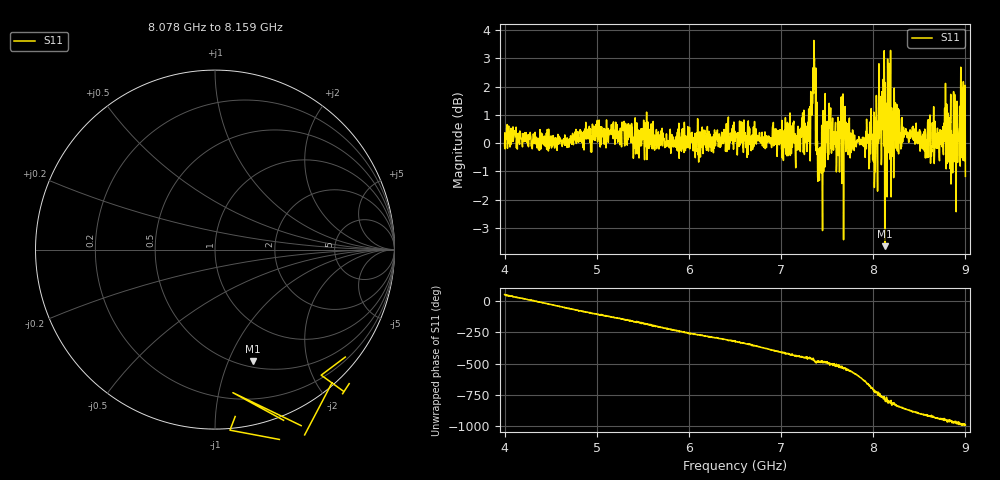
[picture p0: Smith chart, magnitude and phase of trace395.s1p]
! Created with skrf 1.8.0 (http://scikit-rf.org).
# Hz S RI R 50.0
!freq ReS11 ImS11
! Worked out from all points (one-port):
!   1601 points, 4 GHz to 9 GHz, reference 50 ohm
!   lowest |S11| = -3.6 dB at 8.125 GHz (marker M1), VSWR 4.83, Z = 28.2 - j61.7 ohm
!   |S11| at or under -10 dB: nowhere
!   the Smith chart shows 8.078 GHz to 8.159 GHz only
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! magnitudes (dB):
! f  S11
! 4 GHz  -0.1
! 4.625 GHz  -0.1
! 5.25 GHz  -0.1
! 5.875 GHz  0.4
! 6.5 GHz  0.1
! 7.125 GHz  0.3
! 7.294 GHz  0.3
! 7.347 GHz  2.7
! 7.369 GHz  1.9
! 7.4 GHz  -1.4
! 7.425 GHz  -0.1
! 7.478 GHz  1.8
! 7.512 GHz  0.7
! 7.619 GHz  0.9
! 7.65 GHz  1.6
! 7.75 GHz  -0.5
! 7.953 GHz  -0.9
! 8.006 GHz  1.1
! 8.097 GHz  0.8
! 8.125 GHz  -3.6
! 8.162 GHz  1.6
! 8.216 GHz  0.4
! 8.375 GHz  0.4
! 8.556 GHz  -0.3
! 8.788 GHz  -0.4
! 8.841 GHz  1.7
! 8.972 GHz  0.4
! 9 GHz  -1.2
